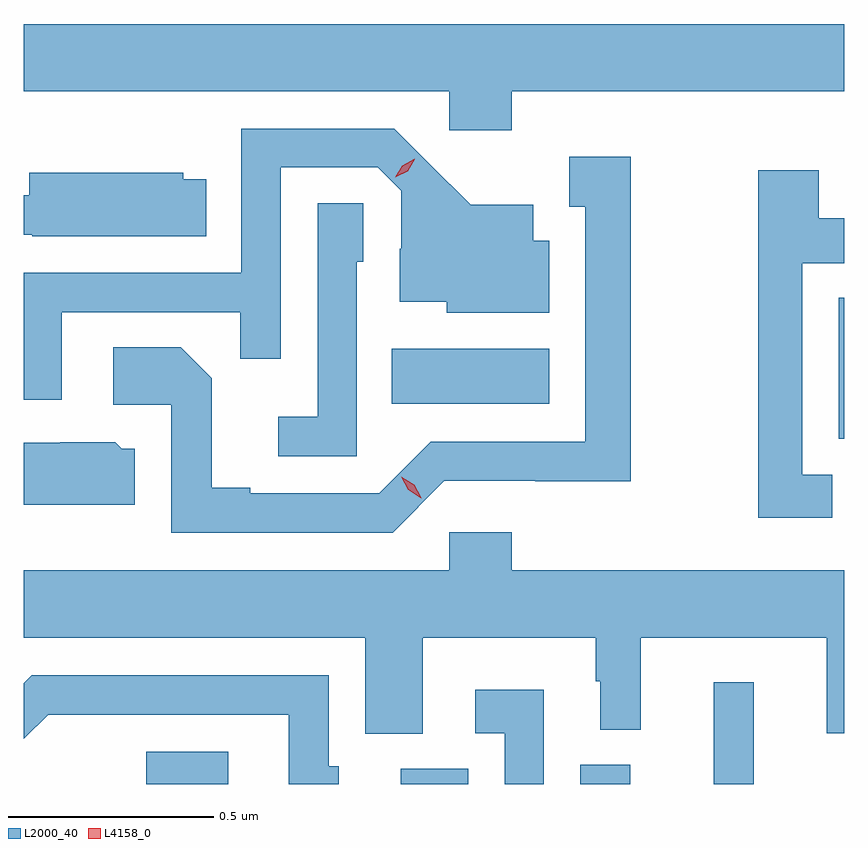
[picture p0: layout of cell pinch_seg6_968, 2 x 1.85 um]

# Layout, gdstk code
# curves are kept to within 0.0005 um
import gdstk
lib = gdstk.Library(unit=1e-6, precision=1e-09)
def R(c, l, rs):  # rectangles x0, y0, x1, y1
    for r in rs: c.add(gdstk.rectangle(r[:2], r[2:], *l))
def P(c, l, *ps):  # polygons
    for p in ps: c.add(gdstk.Polygon(p, *l))
L2000_40 = (2000, 40)
L4158_0 = (4158, 0)

pinch_seg6_968 = lib.new_cell('pinch_seg6_968')
R(pinch_seg6_968, L2000_40, [(335.016,938.987,335.215,939.066), (335.636,938.987,335.8,939.024), (336.074,938.987,336.196,939.034), (336.399,938.987,336.496,939.235), (336.704,939.829,336.717,940.172), (335.614,939.914,335.998,940.048)])
P(pinch_seg6_968, L2000_40, [(335.906,940.676),(336.717,940.676),(336.717,940.84),(334.717,940.84),(334.717,940.676),(335.754,940.676),(335.754,940.581),(335.906,940.581)],
  [(334.809,940.137),(335.245,940.137),(335.245,940.024),(335.343,940.024),(335.343,940.491),(335.58,940.491),(335.637,940.434),(335.637,940.292),(335.633,940.292),(335.633,940.163),(335.748,940.163),(335.748,940.136),(335.998,940.136),(335.998,940.312),(335.959,940.312),(335.959,940.399),(335.807,940.399),(335.62,940.584),(335.247,940.584),(335.247,940.233),(334.717,940.233),(334.717,939.924),(334.809,939.924)],
  [(335.742,939.726),(335.964,939.726),(335.964,939.725),(336.197,939.725),(336.197,940.516),(336.047,940.516),(336.047,940.395),(336.086,940.395),(336.086,939.822),(335.709,939.822),(335.583,939.696),(335.269,939.696),(335.269,939.709),(335.175,939.709),(335.175,939.976),(335.099,940.052),(334.935,940.052),(334.935,939.912),(335.076,939.912),(335.076,939.6),(335.616,939.6)],
  [(336.688,939.741),(336.615,939.741),(336.615,940.257),(336.717,940.257),(336.717,940.366),(336.655,940.366),(336.655,940.483),(336.507,940.483),(336.507,939.636),(336.688,939.636)],
  [(335.162,940.462),(335.106,940.462),(335.106,940.477),(334.73,940.477),(334.73,940.423),(334.717,940.423),(334.717,940.326),(334.738,940.326),(334.738,940.322),(335.162,940.322)],
  [(335.529,940.26),(335.544,940.26),(335.544,940.403),(335.433,940.403),(335.433,939.883),(335.337,939.883),(335.337,939.786),(335.529,939.786)],
  [(334.987,939.804),(334.956,939.804),(334.94,939.82),(334.806,939.82),(334.806,939.819),(334.717,939.819),(334.717,939.668),(334.987,939.668)],
  [(335.689,939.344),(336.111,939.344),(336.111,939.237),(336.122,939.237),(336.122,939.119),(336.221,939.119),(336.221,939.344),(336.674,939.344),(336.674,939.111),(336.717,939.111),(336.717,939.508),(335.906,939.508),(335.906,939.601),(335.754,939.601),(335.754,939.508),(334.717,939.508),(334.717,939.344),(335.549,939.344),(335.549,939.109),(335.689,939.109)],
  [(335.485,939.03),(335.46,939.03),(335.46,939.252),(334.736,939.252),(334.717,939.233),(334.717,939.097),(334.776,939.156),(335.363,939.156),(335.363,938.987),(335.485,938.987)],
  [(335.985,939.217),(335.817,939.217),(335.817,939.111),(335.889,939.111),(335.889,938.987),(335.985,938.987)])
P(pinch_seg6_968, L4158_0, [(335.686,939.684),(335.654,939.704),(335.637,939.736),(335.637,939.736),(335.637,939.736),(335.669,939.717),(335.686,939.685),(335.686,939.684)],
  [(335.622,940.466),(335.622,940.466),(335.639,940.495),(335.67,940.511),(335.67,940.511),(335.67,940.51),(335.653,940.481),(335.622,940.466)])

lib.write_gds('pinch_seg6_968.gds')
